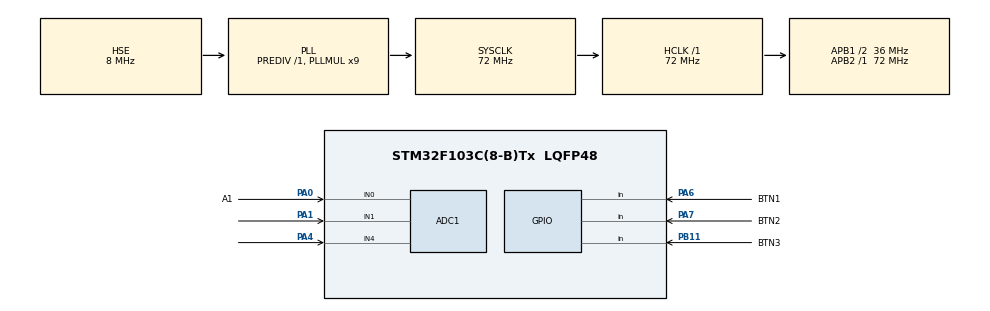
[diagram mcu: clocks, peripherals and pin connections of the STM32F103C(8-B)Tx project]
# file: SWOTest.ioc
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ADC1.Channel-1\#ChannelInjectedConversion=ADC_CHANNEL_0
ADC1.Channel-2\#ChannelInjectedConversion=ADC_CHANNEL_1
ADC1.Channel-3\#ChannelInjectedConversion=ADC_CHANNEL_4
ADC1.EnableInjectedConversion=ENABLE
ADC1.EnableRegularConversion=DISABLE
ADC1.InjNumberOfConversion=3
ADC1.InjectedOffset-1\#ChannelInjectedConversion=0
ADC1.InjectedOffset-2\#ChannelInjectedConversion=0
ADC1.InjectedOffset-3\#ChannelInjectedConversion=0
ADC1.InjectedRank-1\#ChannelInjectedConversion=1
ADC1.InjectedRank-2\#ChannelInjectedConversion=2
ADC1.InjectedRank-3\#ChannelInjectedConversion=3
ADC1.SamplingTime-1\#ChannelInjectedConversion=ADC_SAMPLETIME_28CYCLES_5
ADC1.SamplingTime-2\#ChannelInjectedConversion=ADC_SAMPLETIME_28CYCLES_5
ADC1.SamplingTime-3\#ChannelInjectedConversion=ADC_SAMPLETIME_28CYCLES_5
ADC1.master=1
Mcu.Family=STM32F1
Mcu.Name=STM32F103C(8-B)Tx
Mcu.Package=LQFP48
NVIC.PriorityGroup=NVIC_PRIORITYGROUP_4
PA0-WKUP.GPIO_Label=A1
PA0-WKUP.Signal=ADCx_IN0
PA1.Signal=ADCx_IN1
PA13.Mode=Trace_Asynchronous_SW
PA13.Signal=SYS_JTMS-SWDIO
PA14.Mode=Trace_Asynchronous_SW
PA14.Signal=SYS_JTCK-SWCLK
PA4.Signal=ADCx_IN4
PA6.GPIO_Label=BTN1
PA6.GPIO_PuPd=GPIO_PULLDOWN
PA6.Signal=GPIO_Input
PA7.GPIO_Label=BTN2
PA7.GPIO_PuPd=GPIO_PULLDOWN
PA7.Signal=GPIO_Input
PB11.GPIO_Label=BTN3
PB11.GPIO_PuPd=GPIO_PULLDOWN
PB11.Signal=GPIO_Input
PB3.Mode=Trace_Asynchronous_SW
PB3.Signal=SYS_JTDO-TRACESWO
PD0-OSC_IN.Mode=HSE-External-Oscillator
PD0-OSC_IN.Signal=RCC_OSC_IN
PD1-OSC_OUT.Mode=HSE-External-Oscillator
PD1-OSC_OUT.Signal=RCC_OSC_OUT
ProjectManager.HeapSize=0x200
ProjectManager.StackSize=0x400
ProjectManager.TargetToolchain=STM32CubeIDE
RCC.ADCPresc=RCC_ADCPCLK2_DIV6
RCC.AHBFreq_Value=72000000
RCC.APB1CLKDivider=RCC_HCLK_DIV2
RCC.APB1Freq_Value=36000000
RCC.APB1TimFreq_Value=72000000
RCC.APB2Freq_Value=72000000
RCC.APB2TimFreq_Value=72000000
RCC.HCLKFreq_Value=72000000
RCC.PLLMUL=RCC_PLL_MUL9
RCC.PLLSourceVirtual=RCC_PLLSOURCE_HSE
RCC.SYSCLKFreq_VALUE=72000000
RCC.SYSCLKSource=RCC_SYSCLKSOURCE_PLLCLK
RCC.USBFreq_Value=72000000
SH.ADCx_IN0.0=ADC1_IN0,IN0
SH.ADCx_IN1.0=ADC1_IN1,IN1
SH.ADCx_IN4.0=ADC1_IN4,IN4
board=custom

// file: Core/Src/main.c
/* USER CODE BEGIN Header */
/**
  ******************************************************************************
  * @file           : main.c
  * @brief          : Main program body
  ******************************************************************************
  * @attention
  *
  * Copyright (c) 2024 STMicroelectronics.
  * All rights reserved.
  *
  * This software is licensed under terms that can be found in the LICENSE file
  * in the root directory of this software component.
  * If no LICENSE file comes with this software, it is provided AS-IS.
  *
  ******************************************************************************
  */
/* USER CODE END Header */
#include "main.h"

/* USER CODE BEGIN Includes */
#include "stdio.h"
/* USER CODE END Includes */

/* USER CODE BEGIN PM */
int __io_putchar(int ch){
	ITM_SendChar(ch);
	return ch;
}

//uint32_t ADC_Read_VBAT() {
//	ADC1->CR2 &= ~(ADC_CR2_ADON); // turn of adc
//	// select 4 channel
//	ADC1->SQR1 = 0; // 1 regular channel
//	ADC1->SQR2 = 0x00000000;
//	ADC1->SQR3 = 0x00000100; // 1 convert - channel 4
//	ADC1->CR2 |= (ADC_CR2_ADON); // turn on adc
//	ADC1->CR2 |= ADC_CR2_SWSTART; // start adc convert
//	while (!(ADC1->SR & ADC_SR_EOC)) {
//	}; //wait for end of convert
//
//	return ADC1->DR; // read adc data
//}
//
//uint32_t ADC_Read_JoystickA() {
//	ADC1->CR2 &= ~(ADC_CR2_ADON); // turn of adc
//	// select 0 channel
//	ADC1->SQR1 = 0; // 1 regular channel
//	ADC1->SQR2 = 0x00000000;
//	ADC1->SQR3 = 0x00000000; // 1 convert - channel 0
//	ADC1->CR2 |= (ADC_CR2_ADON); // turn on adc
//	ADC1->CR2 |= ADC_CR2_SWSTART; // start adc convert
//	while (!(ADC1->SR & ADC_SR_EOC)) {
//	}; //wait for end of convert
//
//	return ADC1->DR; // read adc data
//}
//
//uint32_t ADC_Read_JoystickB() {
//	ADC1->CR2 &= ~(ADC_CR2_ADON); // turn of adc
//	// select 1 channel
//	ADC1->SQR1 = 0; // 1 regular channel
//	ADC1->SQR2 = 0x00000000;
//	ADC1->SQR3 = 0x00000001; // 1 convert - channel 1
//	ADC1->CR2 |= (ADC_CR2_ADON); // turn on adc
//	ADC1->CR2 |= ADC_CR2_SWSTART; // start adc convert
//	while (!(ADC1->SR & ADC_SR_EOC)) {
//	}; //wait for end of convert
//
//	return ADC1->DR; // read adc data
//}

/* USER CODE END PM */

 ADC_HandleTypeDef hadc1;

void SystemClock_Config(void);
static void MX_GPIO_Init(void);
static void MX_ADC1_Init(void);

int main(void)
{

  /* MCU Configuration--------------------------------------------------------*/

  /* Reset of all peripherals, Initializes the Flash interface and the Systick. */
  HAL_Init();

  /* Configure the system clock */
  SystemClock_Config();

  /* Initialize all configured peripherals */
  MX_GPIO_Init();
  MX_ADC1_Init();
  /* USER CODE BEGIN 2 */
  HAL_ADCEx_Calibration_Start(&hadc1);
  /* USER CODE END 2 */

  /* Infinite loop */
  /* USER CODE BEGIN WHILE */
  while (1)
  {
	  HAL_ADCEx_InjectedStart(&hadc1);
	  HAL_ADCEx_InjectedPollForConversion(&hadc1, 10);
	  uint32_t jA = HAL_ADCEx_InjectedGetValue(&hadc1, ADC_INJECTED_RANK_1);
	  HAL_ADCEx_InjectedStart(&hadc1);
	  HAL_ADCEx_InjectedPollForConversion(&hadc1, 10);
	  uint32_t jB = HAL_ADCEx_InjectedGetValue(&hadc1, ADC_INJECTED_RANK_2);
	  HAL_ADCEx_InjectedStart(&hadc1);
	  HAL_ADCEx_InjectedPollForConversion(&hadc1, 10);
	  uint32_t vBat = HAL_ADCEx_InjectedGetValue(&hadc1, ADC_INJECTED_RANK_3);
	  int btn1 = HAL_GPIO_ReadPin(BTN1_GPIO_Port, BTN1_Pin);
	  int btn2 = HAL_GPIO_ReadPin(BTN2_GPIO_Port, BTN2_Pin);
	  int btn3 = HAL_GPIO_ReadPin(BTN3_GPIO_Port, BTN3_Pin);
	  printf("SWO Test, btn1: %i, btn2: %i, btn3: %i, Joystick Alpha 1: %lu, Joystick Beta 1: %lu, vBat: %lu \n", btn1, btn2, btn3, jA, jB, vBat);
	  HAL_Delay(500);
    /* USER CODE END WHILE */

  }
}

void SystemClock_Config(void)
{
  RCC_OscInitTypeDef RCC_OscInitStruct = {0};
  RCC_ClkInitTypeDef RCC_ClkInitStruct = {0};
  RCC_PeriphCLKInitTypeDef PeriphClkInit = {0};

  /** Initializes the RCC Oscillators according to the specified parameters
  * in the RCC_OscInitTypeDef structure.
  */
  RCC_OscInitStruct.OscillatorType = RCC_OSCILLATORTYPE_HSE;
  RCC_OscInitStruct.HSEState = RCC_HSE_ON;
  RCC_OscInitStruct.HSEPredivValue = RCC_HSE_PREDIV_DIV1;
  RCC_OscInitStruct.HSIState = RCC_HSI_ON;
  RCC_OscInitStruct.PLL.PLLState = RCC_PLL_ON;
  RCC_OscInitStruct.PLL.PLLSource = RCC_PLLSOURCE_HSE;
  RCC_OscInitStruct.PLL.PLLMUL = RCC_PLL_MUL9;
  if (HAL_RCC_OscConfig(&RCC_OscInitStruct) != HAL_OK)
  {
    Error_Handler();
  }

  /** Initializes the CPU, AHB and APB buses clocks
  */
  RCC_ClkInitStruct.ClockType = RCC_CLOCKTYPE_HCLK|RCC_CLOCKTYPE_SYSCLK
                              |RCC_CLOCKTYPE_PCLK1|RCC_CLOCKTYPE_PCLK2;
  RCC_ClkInitStruct.SYSCLKSource = RCC_SYSCLKSOURCE_PLLCLK;
  RCC_ClkInitStruct.AHBCLKDivider = RCC_SYSCLK_DIV1;
  RCC_ClkInitStruct.APB1CLKDivider = RCC_HCLK_DIV2;
  RCC_ClkInitStruct.APB2CLKDivider = RCC_HCLK_DIV1;

  if (HAL_RCC_ClockConfig(&RCC_ClkInitStruct, FLASH_LATENCY_2) != HAL_OK)
  {
    Error_Handler();
  }
  PeriphClkInit.PeriphClockSelection = RCC_PERIPHCLK_ADC;
  PeriphClkInit.AdcClockSelection = RCC_ADCPCLK2_DIV6;
  if (HAL_RCCEx_PeriphCLKConfig(&PeriphClkInit) != HAL_OK)
  {
    Error_Handler();
  }
}

static void MX_ADC1_Init(void)
{

  ADC_InjectionConfTypeDef sConfigInjected = {0};

  /** Common config
  */
  hadc1.Instance = ADC1;
  hadc1.Init.ScanConvMode = ADC_SCAN_ENABLE;
  hadc1.Init.ContinuousConvMode = DISABLE;
  hadc1.Init.DiscontinuousConvMode = DISABLE;
  hadc1.Init.ExternalTrigConv = ADC_SOFTWARE_START;
  hadc1.Init.DataAlign = ADC_DATAALIGN_RIGHT;
  hadc1.Init.NbrOfConversion = 1;
  if (HAL_ADC_Init(&hadc1) != HAL_OK)
  {
    Error_Handler();
  }

  /** Configure Injected Channel
  */
  sConfigInjected.InjectedChannel = ADC_CHANNEL_0;
  sConfigInjected.InjectedRank = ADC_INJECTED_RANK_1;
  sConfigInjected.InjectedNbrOfConversion = 3;
  sConfigInjected.InjectedSamplingTime = ADC_SAMPLETIME_28CYCLES_5;
  sConfigInjected.ExternalTrigInjecConv = ADC_INJECTED_SOFTWARE_START;
  sConfigInjected.AutoInjectedConv = DISABLE;
  sConfigInjected.InjectedDiscontinuousConvMode = DISABLE;
  sConfigInjected.InjectedOffset = 0;
  if (HAL_ADCEx_InjectedConfigChannel(&hadc1, &sConfigInjected) != HAL_OK)
  {
    Error_Handler();
  }

  /** Configure Injected Channel
  */
  sConfigInjected.InjectedChannel = ADC_CHANNEL_1;
  sConfigInjected.InjectedRank = ADC_INJECTED_RANK_2;
  if (HAL_ADCEx_InjectedConfigChannel(&hadc1, &sConfigInjected) != HAL_OK)
  {
    Error_Handler();
  }

  /** Configure Injected Channel
  */
  sConfigInjected.InjectedChannel = ADC_CHANNEL_4;
  sConfigInjected.InjectedRank = ADC_INJECTED_RANK_3;
  if (HAL_ADCEx_InjectedConfigChannel(&hadc1, &sConfigInjected) != HAL_OK)
  {
    Error_Handler();
  }

}

static void MX_GPIO_Init(void)
{
  GPIO_InitTypeDef GPIO_InitStruct = {0};

  /* GPIO Ports Clock Enable */
  __HAL_RCC_GPIOD_CLK_ENABLE();
  __HAL_RCC_GPIOA_CLK_ENABLE();
  __HAL_RCC_GPIOB_CLK_ENABLE();

  /*Configure GPIO pins : BTN1_Pin BTN2_Pin */
  GPIO_InitStruct.Pin = BTN1_Pin|BTN2_Pin;
  GPIO_InitStruct.Mode = GPIO_MODE_INPUT;
  GPIO_InitStruct.Pull = GPIO_PULLDOWN;
  HAL_GPIO_Init(GPIOA, &GPIO_InitStruct);

  /*Configure GPIO pin : BTN3_Pin */
  GPIO_InitStruct.Pin = BTN3_Pin;
  GPIO_InitStruct.Mode = GPIO_MODE_INPUT;
  GPIO_InitStruct.Pull = GPIO_PULLDOWN;
  HAL_GPIO_Init(BTN3_GPIO_Port, &GPIO_InitStruct);

}

void Error_Handler(void)
{
  __disable_irq();
  while (1)
  {
  }
}
